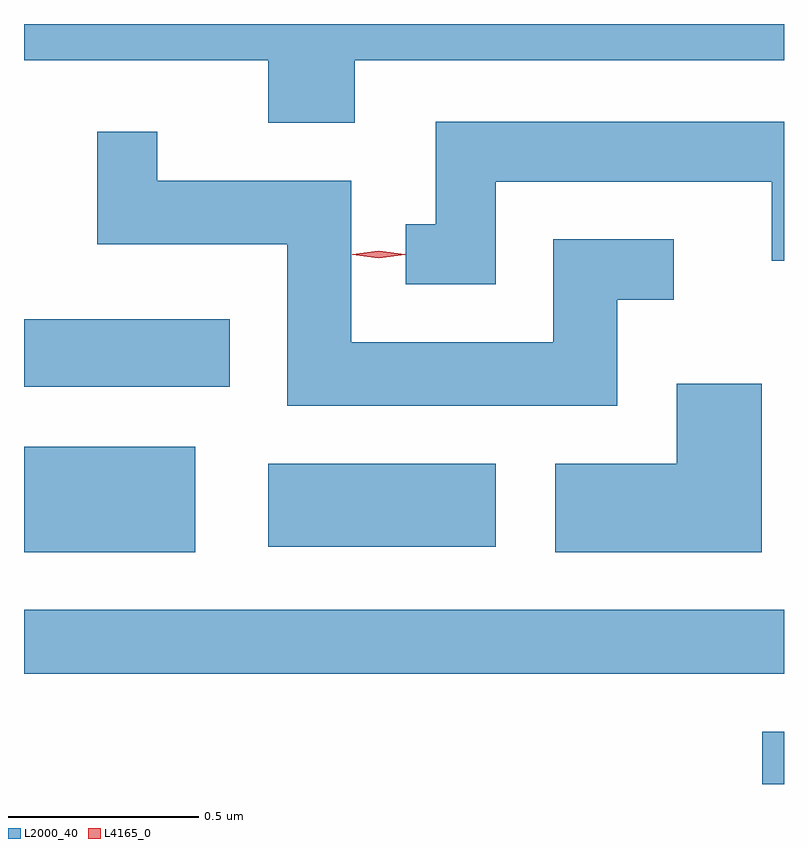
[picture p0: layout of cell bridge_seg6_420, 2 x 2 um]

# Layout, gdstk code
import gdstk
lib = gdstk.Library(unit=1e-6, precision=1e-09)
def R(c, l, rs):  # rectangles x0, y0, x1, y1
    for r in rs: c.add(gdstk.rectangle(r[:2], r[2:], *l))
def P(c, l, *ps):  # polygons
    for p in ps: c.add(gdstk.Polygon(p, *l))
L2000_40 = (2000, 40)
L4165_0 = (4165, 0)

bridge_seg6_420 = lib.new_cell('bridge_seg6_420')
R(bridge_seg6_420, L2000_40, [(902.161,1645.811,902.218,1645.949), (900.218,1646.101,902.218,1646.269), (900.218,1646.421,900.669,1646.699), (900.861,1646.436,901.459,1646.654), (900.218,1646.856,900.759,1647.034)])
P(bridge_seg6_420, L2000_40, [(901.089,1647.716),(902.218,1647.716),(902.218,1647.811),(900.218,1647.811),(900.218,1647.716),(900.861,1647.716),(900.861,1647.551),(901.089,1647.551)],
  [(901.459,1647.396),(902.186,1647.396),(902.186,1647.188),(902.218,1647.188),(902.218,1647.554),(901.301,1647.554),(901.301,1647.284),(901.223,1647.284),(901.223,1647.126),(901.459,1647.126)],
  [(901.779,1647.086),(901.928,1647.086),(901.928,1647.244),(901.611,1647.244),(901.611,1646.974),(901.079,1646.974),(901.079,1647.399),(900.569,1647.399),(900.569,1647.528),(900.411,1647.528),(900.411,1647.231),(900.911,1647.231),(900.911,1646.806),(901.779,1646.806)],
  [(902.159,1646.864),(901.936,1646.864),(901.936,1646.654),(901.616,1646.654),(901.616,1646.421),(902.159,1646.421)])
P(bridge_seg6_420, L4165_0, [(901.152,1647.195),(901.082,1647.204),(901.082,1647.204),(901.082,1647.205),(901.152,1647.214),(901.221,1647.205),(901.221,1647.205),(901.221,1647.204)])

lib.write_gds('bridge_seg6_420.gds')
